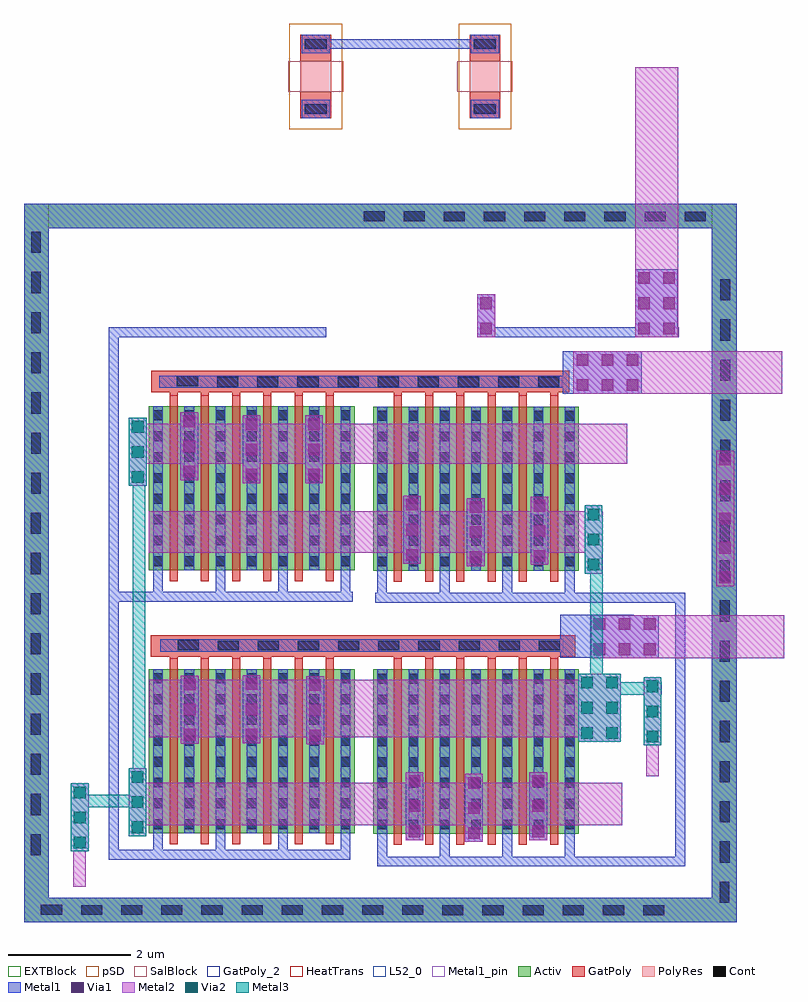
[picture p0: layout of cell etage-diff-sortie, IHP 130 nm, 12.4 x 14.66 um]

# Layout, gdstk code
import gdstk
lib = gdstk.Library(unit=1e-6, precision=1e-09)
def R(c, l, rs):  # rectangles x0, y0, x1, y1
    for r in rs: c.add(gdstk.rectangle(r[:2], r[2:], *l))
def A(c, l, x, y, w, h, nx, ny, dx, dy):  # array of equal rectangles
    R(c, l, [(x+i*dx, y+j*dy, x+i*dx+w, y+j*dy+h) for i in range(nx) for j in range(ny)])
Activ = (1, 0)
GatPoly = (5, 0)
GatPoly_2 = (5, 2)
Cont = (6, 0)
Metal1 = (8, 0)
Metal1_pin = (8, 2)
Metal2 = (10, 0)
pSD = (14, 0)
Via1 = (19, 0)
SalBlock = (28, 0)
Via2 = (29, 0)
Metal3 = (30, 0)
HeatTrans = (51, 0)
L52_0 = (52, 0)
EXTBlock = (111, 0)
PolyRes = (128, 0)

nmos = lib.new_cell('nmos')
A(nmos, Activ, 0, 0, 0.3, 0.3, 7, 1, 0.51, 0)
R(nmos, Activ, [(0,0,3.36,2.68)])
A(nmos, GatPoly, 0.34, -0.18, 0.13, 3.04, 6, 1, 0.51, 0)
R(nmos, GatPoly_2, [(0.34,-0.18,0.47,2.86)])
A(nmos, Cont, 0.07, 0.07, 0.16, 0.16, 7, 8, 0.51, 0.34)
A(nmos, Metal1, 0.07, 0, 0.16, 2.68, 7, 1, 0.51, 0)
R(nmos, Metal1_pin, [(0.07,0,0.23,2.68), (0.58,0,0.74,2.68)])
A(nmos, HeatTrans, 0.34, -0.18, 0.13, 3.04, 6, 1, 0.51, 0)
nmos.add(gdstk.Label('nmos', (0.405,1.34), layer=63, texttype=0))
nmos.add(gdstk.Label('nmos', (0.405,1.34), layer=51, texttype=0))
nmos.add(gdstk.Label('nmos', (0.915,1.34), layer=51, texttype=0))
nmos.add(gdstk.Label('nmos', (1.425,1.34), layer=51, texttype=0))
nmos.add(gdstk.Label('nmos', (1.935,1.34), layer=51, texttype=0))
nmos.add(gdstk.Label('nmos', (2.445,1.34), layer=51, texttype=0))
nmos.add(gdstk.Label('nmos', (2.955,1.34), layer=51, texttype=0))

via_stack_1 = lib.new_cell('via_stack$1')
R(via_stack_1, Metal1, [(-0.145,-0.555,0.145,0.555)])
R(via_stack_1, Metal2, [(-0.145,-0.555,0.145,0.555)])
A(via_stack_1, Via1, -0.095, -0.505, 0.19, 0.19, 1, 3, 0, 0.41)

via_stack_2 = lib.new_cell('via_stack$2')
R(via_stack_2, Metal2, [(-0.145,-0.555,0.145,0.555)])
A(via_stack_2, Via2, -0.095, -0.505, 0.19, 0.19, 1, 3, 0, 0.41)
R(via_stack_2, Metal3, [(-0.145,-0.555,0.145,0.555)])

via_stack_4 = lib.new_cell('via_stack$4')
R(via_stack_4, Metal1, [(-0.555,-0.35,0.555,0.35)])
R(via_stack_4, Metal2, [(-0.555,-0.35,0.555,0.35)])
A(via_stack_4, Via1, -0.505, -0.3, 0.19, 0.19, 3, 2, 0.41, 0.41)

rppd = lib.new_cell('rppd')
R(rppd, GatPoly, [(0,-0.43,0.5,-0.2), (0,-0.2,0.5,0), (0,0.5,0.5,0.7), (0,0.7,0.5,0.93)])
R(rppd, Cont, [(0.07,-0.36,0.43,-0.2), (0.07,0.7,0.43,0.86)])
R(rppd, Metal1, [(0.02,-0.43,0.48,-0.13), (0.02,0.63,0.48,0.93)])
R(rppd, Metal1_pin, [(0.02,-0.43,0.48,-0.13), (0.02,0.63,0.48,0.93)])
R(rppd, pSD, [(-0.18,-0.61,0.68,0), (-0.18,0,0.68,0.5), (-0.18,0.5,0.68,1.11)])
R(rppd, SalBlock, [(-0.2,0,0.7,0.5)])
R(rppd, L52_0, [(0,0,0.5,0.5)])
R(rppd, EXTBlock, [(-0.18,-0.61,0.68,0), (-0.2,0,0.7,0.5), (-0.18,0.5,0.68,1.11)])
R(rppd, PolyRes, [(0,0,0.5,0.5)])
rppd.add(gdstk.Label('rpnd r=396.917', (0.25,0.25), layer=63, texttype=0))
rppd.add(gdstk.Label('rppd', (0.25,0.25), layer=52, texttype=0))

rppd_1 = lib.new_cell('rppd$1')
R(rppd_1, GatPoly, [(0,-0.43,0.5,-0.2), (0,-0.2,0.5,0), (0,0.5,0.5,0.7), (0,0.7,0.5,0.93)])
R(rppd_1, Cont, [(0.07,-0.36,0.43,-0.2), (0.07,0.7,0.43,0.86)])
R(rppd_1, Metal1, [(0.02,-0.43,0.48,-0.13), (0.02,0.63,0.48,0.93)])
R(rppd_1, Metal1_pin, [(0.02,-0.43,0.48,-0.13), (0.02,0.63,0.48,0.93)])
R(rppd_1, pSD, [(-0.18,-0.61,0.68,0), (-0.18,0,0.68,0.5), (-0.18,0.5,0.68,1.11)])
R(rppd_1, SalBlock, [(-0.2,0,0.7,0.5)])
R(rppd_1, L52_0, [(0,0,0.5,0.5)])
R(rppd_1, EXTBlock, [(-0.18,-0.61,0.68,0), (-0.2,0,0.7,0.5), (-0.18,0.5,0.68,1.11)])
R(rppd_1, PolyRes, [(0,0,0.5,0.5)])
rppd_1.add(gdstk.Label('rpnd r=396.917', (0.25,0.25), layer=63, texttype=0))
rppd_1.add(gdstk.Label('rppd', (0.25,0.25), layer=52, texttype=0))

via_stack_13 = lib.new_cell('via_stack$13')
R(via_stack_13, Metal1, [(-0.35,-0.555,0.35,0.555)])
R(via_stack_13, Metal2, [(-0.35,-0.555,0.35,0.555)])
A(via_stack_13, Via1, -0.3, -0.505, 0.19, 0.19, 1, 3, 0, 0.41)
A(via_stack_13, Via1, 0.11, -0.505, 0.19, 0.19, 1, 3, 0, 0.41)

via_stack_15 = lib.new_cell('via_stack$15')
R(via_stack_15, Metal1, [(-0.145,-0.35,0.145,0.35)])
R(via_stack_15, Metal2, [(-0.145,-0.35,0.145,0.35)])
R(via_stack_15, Via1, [(-0.095,-0.3,0.095,-0.11), (-0.095,0.11,0.095,0.3)])

via_stack = lib.new_cell('via_stack')
R(via_stack, Metal1, [(-0.145,-1.105,0.145,1.105)])
R(via_stack, Metal2, [(-0.145,-1.105,0.145,1.105)])
A(via_stack, Via1, -0.095, -1.055, 0.19, 0.19, 1, 5, 0, 0.48)

via_stack_3 = lib.new_cell('via_stack$3')
R(via_stack_3, Metal2, [(-0.35,-0.555,0.35,0.555)])
A(via_stack_3, Via2, -0.3, -0.505, 0.19, 0.19, 1, 3, 0, 0.41)
A(via_stack_3, Via2, 0.11, -0.505, 0.19, 0.19, 1, 3, 0, 0.41)
R(via_stack_3, Metal3, [(-0.35,-0.555,0.35,0.555)])

etage_diff_sortie = lib.new_cell('etage-diff-sortie')
R(etage_diff_sortie, Activ, [(-5.8,-7.33,-5.755,-6.93)])
R(etage_diff_sortie, GatPoly, [(-0.83,-2.995,-0.51,-2.645), (-0.82,1.315,-0.61,1.665)])
R(etage_diff_sortie, Metal1, [(-5.8,-7.33,-5.755,-6.93)])
R(etage_diff_sortie, Metal2, [(-4.495,-5.75,3.56,-5.05), (-4.16,-4.31,3.51,-3.37), (-4.165,-1.3,3.24,-0.625), (-4.49,0.155,3.645,0.8)])
R(etage_diff_sortie, pSD, [(-5.8,-7.33,-5.755,-6.93)])
etage_diff_sortie.add(gdstk.FlexPath([(2.59,1.64),(3.495,1.64)], 0.7, ends="flush", simple_path=True, layer=8, datatype=0))  # Metal1
etage_diff_sortie.add(gdstk.FlexPath([(1.195,2.295),(4.48,2.295)], 0.16, ends="flush", simple_path=True, layer=8, datatype=0))  # Metal1
etage_diff_sortie.add(gdstk.FlexPath([(-1.265,2.295),(-4.815,2.295),(-4.815,2.295)], 0.16, ends="flush", simple_path=True, layer=8, datatype=0))  # Metal1
etage_diff_sortie.add(gdstk.FlexPath([(-1.26,7),(1.385,7)], 0.16, ends="flush", simple_path=True, layer=8, datatype=0))  # Metal1
etage_diff_sortie.add(gdstk.FlexPath([(2.55,-2.665),(3.75,-2.665)], 0.7, ends="flush", simple_path=True, layer=8, datatype=0))  # Metal1
etage_diff_sortie.add(gdstk.FlexPath([(3.055,-6.34),(-0.435,-6.34)], 0.16, ends="flush", simple_path=True, layer=8, datatype=0))  # Metal1
etage_diff_sortie.add(gdstk.FlexPath([(-0.355,-6.14),(-0.355,-6.26)], 0.16, ends="flush", simple_path=True, layer=8, datatype=0))  # Metal1
etage_diff_sortie.add(gdstk.FlexPath([(0.665,-6.14),(0.665,-6.26)], 0.16, ends="flush", simple_path=True, layer=8, datatype=0))  # Metal1
etage_diff_sortie.add(gdstk.FlexPath([(1.685,-6.14),(1.685,-6.26)], 0.16, ends="flush", simple_path=True, layer=8, datatype=0))  # Metal1
etage_diff_sortie.add(gdstk.FlexPath([(2.705,-6.14),(2.705,-6.26)], 0.16, ends="flush", simple_path=True, layer=8, datatype=0))  # Metal1
etage_diff_sortie.add(gdstk.FlexPath([(3.055,-6.34),(3.815,-6.34)], 0.16, ends="flush", simple_path=True, layer=8, datatype=0))  # Metal1
etage_diff_sortie.add(gdstk.FlexPath([(3.815,-6.34),(4.585,-6.34)], 0.16, ends="flush", simple_path=True, layer=8, datatype=0))  # Metal1
etage_diff_sortie.add(gdstk.FlexPath([(4.505,-6.255),(4.505,-6.26)], 0.16, ends="flush", simple_path=True, layer=8, datatype=0))  # Metal1
etage_diff_sortie.add(gdstk.FlexPath([(-4.23,-6.23),(-0.875,-6.23)], 0.16, ends="flush", simple_path=True, layer=8, datatype=0))  # Metal1
etage_diff_sortie.add(gdstk.FlexPath([(-4.23,-6.23),(-4.815,-6.23)], 0.16, ends="flush", simple_path=True, layer=8, datatype=0))  # Metal1
etage_diff_sortie.add(gdstk.FlexPath([(-4.735,-5.62),(-4.735,-6.15)], 0.16, ends="flush", simple_path=True, layer=8, datatype=0))  # Metal1
etage_diff_sortie.add(gdstk.FlexPath([(-5.8,4.195),(5.38,4.195)], 0.4, ends="flush", simple_path=True, layer=8, datatype=0))  # Metal1
etage_diff_sortie.add(gdstk.FlexPath([(5.425,-7.13),(-5.755,-7.13)], 0.4, ends="flush", simple_path=True, layer=8, datatype=0))  # Metal1
etage_diff_sortie.add(gdstk.FlexPath([(-6,-7.33),(-6,4.395),(-6,4.395)], 0.4, ends="flush", simple_path=True, layer=8, datatype=0))  # Metal1
etage_diff_sortie.add(gdstk.FlexPath([(5.225,4.395),(5.225,-7.33)], 0.4, ends="flush", simple_path=True, layer=8, datatype=0))  # Metal1
etage_diff_sortie.add(gdstk.FlexPath([(2.59,1.49),(-3.99,1.49)], 0.2, ends="flush", simple_path=True, layer=8, datatype=0))  # Metal1
etage_diff_sortie.add(gdstk.FlexPath([(2.6,-2.815),(-3.98,-2.815)], 0.2, ends="flush", simple_path=True, layer=8, datatype=0))  # Metal1
etage_diff_sortie.add(gdstk.FlexPath([(-4.735,-2.08),(-4.735,2.235)], 0.16, ends="flush", simple_path=True, layer=8, datatype=0))  # Metal1
etage_diff_sortie.add(gdstk.FlexPath([(-4.275,-2.02),(-4.815,-2.02),(-4.815,-2.02),(-4.815,-2.02)], 0.16, ends="flush", simple_path=True, layer=8, datatype=0))  # Metal1
etage_diff_sortie.add(gdstk.FlexPath([(4.505,-2.115),(4.505,-6.255)], 0.16, ends="flush", simple_path=True, layer=8, datatype=0))  # Metal1
etage_diff_sortie.add(gdstk.FlexPath([(3.805,-2.035),(4.585,-2.035)], 0.16, ends="flush", simple_path=True, layer=8, datatype=0))  # Metal1
etage_diff_sortie.add(gdstk.FlexPath([(3.035,-2.035),(3.805,-2.035),(3.805,-2.035),(3.805,-2.035)], 0.16, ends="flush", simple_path=True, layer=8, datatype=0))  # Metal1
etage_diff_sortie.add(gdstk.FlexPath([(-2.995,-1.415),(-2.995,-1.94)], 0.16, ends="flush", simple_path=True, layer=8, datatype=0))  # Metal1
etage_diff_sortie.add(gdstk.FlexPath([(-1.975,-1.42),(-1.975,-1.94)], 0.16, ends="flush", simple_path=True, layer=8, datatype=0))  # Metal1
etage_diff_sortie.add(gdstk.FlexPath([(-0.955,-1.415),(-0.955,-1.94)], 0.16, ends="flush", simple_path=True, layer=8, datatype=0))  # Metal1
etage_diff_sortie.add(gdstk.FlexPath([(-0.36,-1.415),(-0.36,-1.955)], 0.16, ends="flush", simple_path=True, layer=8, datatype=0))  # Metal1
etage_diff_sortie.add(gdstk.FlexPath([(0.665,-1.425),(0.665,-1.955)], 0.16, ends="flush", simple_path=True, layer=8, datatype=0))  # Metal1
etage_diff_sortie.add(gdstk.FlexPath([(1.685,-1.425),(1.685,-1.955)], 0.16, ends="flush", simple_path=True, layer=8, datatype=0))  # Metal1
etage_diff_sortie.add(gdstk.FlexPath([(-4.015,-5.74),(-4.015,-6.15)], 0.16, ends="flush", simple_path=True, layer=8, datatype=0))  # Metal1
etage_diff_sortie.add(gdstk.FlexPath([(-2.995,-5.71),(-2.995,-6.15)], 0.16, ends="flush", simple_path=True, layer=8, datatype=0))  # Metal1
etage_diff_sortie.add(gdstk.FlexPath([(-0.955,-5.725),(-0.955,-6.15)], 0.16, ends="flush", simple_path=True, layer=8, datatype=0))  # Metal1
etage_diff_sortie.add(gdstk.FlexPath([(-1.975,-5.815),(-1.975,-6.15)], 0.16, ends="flush", simple_path=True, layer=8, datatype=0))  # Metal1
etage_diff_sortie.add(gdstk.FlexPath([(-0.355,-5.73),(-0.355,-6.14)], 0.16, ends="flush", simple_path=True, layer=8, datatype=0))  # Metal1
etage_diff_sortie.add(gdstk.FlexPath([(0.665,-5.735),(0.665,-6.14)], 0.16, ends="flush", simple_path=True, layer=8, datatype=0))  # Metal1
etage_diff_sortie.add(gdstk.FlexPath([(1.685,-5.785),(1.685,-6.14)], 0.16, ends="flush", simple_path=True, layer=8, datatype=0))  # Metal1
etage_diff_sortie.add(gdstk.FlexPath([(2.705,-5.77),(2.705,-6.14)], 0.16, ends="flush", simple_path=True, layer=8, datatype=0))  # Metal1
etage_diff_sortie.add(gdstk.FlexPath([(2.705,-1.585),(2.705,-1.955)], 0.16, ends="flush", simple_path=True, layer=8, datatype=0))  # Metal1
etage_diff_sortie.add(gdstk.FlexPath([(-4.015,-1.41),(-4.015,-1.94),(-4.015,-1.94),(-4.015,-1.94)], 0.16, ends="flush", simple_path=True, layer=8, datatype=0))  # Metal1
etage_diff_sortie.add(gdstk.FlexPath([(-4.275,-2.02),(-0.84,-2.02)], 0.16, ends="flush", simple_path=True, layer=8, datatype=0))  # Metal1
etage_diff_sortie.add(gdstk.FlexPath([(-0.47,-2.035),(3.035,-2.035)], 0.16, ends="flush", simple_path=True, layer=8, datatype=0))  # Metal1
etage_diff_sortie.add(gdstk.FlexPath([(-0.47,-2.035),(3.035,-2.035)], 0.16, ends="flush", simple_path=True, layer=8, datatype=0))  # Metal1
etage_diff_sortie.add(gdstk.FlexPath([(-4.275,-2.02),(-0.84,-2.02)], 0.16, ends="flush", simple_path=True, layer=8, datatype=0))  # Metal1
etage_diff_sortie.add(gdstk.FlexPath([(-4.735,-2.08),(-4.735,-2.655)], 0.16, ends="flush", simple_path=True, layer=8, datatype=0))  # Metal1
etage_diff_sortie.add(gdstk.FlexPath([(-4.735,-2.65),(-4.735,-3.555)], 0.16, ends="flush", simple_path=True, layer=8, datatype=0))  # Metal1
etage_diff_sortie.add(gdstk.FlexPath([(-4.735,-3.555),(-4.735,-5.62)], 0.16, ends="flush", simple_path=True, layer=8, datatype=0))  # Metal1
etage_diff_sortie.add(gdstk.FlexPath([(3.065,1.64),(6.17,1.64)], 0.7, ends="flush", simple_path=True, layer=10, datatype=0))  # Metal2
etage_diff_sortie.add(gdstk.FlexPath([(4.125,2.22),(4.125,6.62)], 0.7, ends="flush", simple_path=True, layer=10, datatype=0))  # Metal2
etage_diff_sortie.add(gdstk.FlexPath([(3.415,-2.67),(6.2,-2.67)], 0.7, ends="flush", simple_path=True, layer=10, datatype=0))  # Metal2
etage_diff_sortie.add(gdstk.FlexPath([(4.055,-4.95),(4.055,-3.37)], 0.2, ends="flush", simple_path=True, layer=10, datatype=0))  # Metal2
etage_diff_sortie.add(gdstk.FlexPath([(-5.295,-6.75),(-5.295,-5.2)], 0.2, ends="flush", simple_path=True, layer=10, datatype=0))  # Metal2
etage_diff_sortie.add(gdstk.FlexPath([(2.59,1.49),(-3.99,1.49)], 0.2, ends="flush", simple_path=True, layer=8, datatype=2))  # Metal1_pin
etage_diff_sortie.add(gdstk.FlexPath([(2.6,-2.815),(-3.98,-2.815)], 0.2, ends="flush", simple_path=True, layer=8, datatype=2))  # Metal1_pin
etage_diff_sortie.add(gdstk.FlexPath([(-5.8,4.195),(5.38,4.195)], 0.4, ends="flush", simple_path=True, layer=1, datatype=0))  # Activ
etage_diff_sortie.add(gdstk.FlexPath([(-6,4.395),(-6,-7.33),(-6,-7.33),(-6,-7.33)], 0.4, ends="flush", simple_path=True, layer=1, datatype=0))  # Activ
etage_diff_sortie.add(gdstk.FlexPath([(-5.755,-7.13),(5.425,-7.13)], 0.4, ends="flush", simple_path=True, layer=1, datatype=0))  # Activ
etage_diff_sortie.add(gdstk.FlexPath([(5.225,4.395),(5.225,-7.33),(5.225,-7.33),(5.225,-7.33)], 0.4, ends="flush", simple_path=True, layer=1, datatype=0))  # Activ
etage_diff_sortie.add(gdstk.FlexPath([(-0.51,-2.82),(2.795,-2.82)], 0.35, ends="flush", simple_path=True, layer=5, datatype=0))  # GatPoly
etage_diff_sortie.add(gdstk.FlexPath([(-4.135,-2.82),(-0.83,-2.82)], 0.35, ends="flush", simple_path=True, layer=5, datatype=0))  # GatPoly
etage_diff_sortie.add(gdstk.FlexPath([(-0.61,1.49),(2.695,1.49)], 0.35, ends="flush", simple_path=True, layer=5, datatype=0))  # GatPoly
etage_diff_sortie.add(gdstk.FlexPath([(-4.125,1.49),(-0.82,1.49)], 0.35, ends="flush", simple_path=True, layer=5, datatype=0))  # GatPoly
etage_diff_sortie.add(gdstk.FlexPath([(-1.21,1.27),(-1.21,1.325)], 0.13, ends="flush", simple_path=True, layer=5, datatype=0))  # GatPoly
etage_diff_sortie.add(gdstk.FlexPath([(-1.72,1.27),(-1.72,1.325)], 0.13, ends="flush", simple_path=True, layer=5, datatype=0))  # GatPoly
etage_diff_sortie.add(gdstk.FlexPath([(-2.23,1.27),(-2.23,1.325)], 0.13, ends="flush", simple_path=True, layer=5, datatype=0))  # GatPoly
etage_diff_sortie.add(gdstk.FlexPath([(-2.74,1.27),(-2.74,1.325),(-2.74,1.325)], 0.13, ends="flush", simple_path=True, layer=5, datatype=0))  # GatPoly
etage_diff_sortie.add(gdstk.FlexPath([(-3.25,1.27),(-3.25,1.33)], 0.13, ends="flush", simple_path=True, layer=5, datatype=0))  # GatPoly
etage_diff_sortie.add(gdstk.FlexPath([(-0.1,1.22),(-0.1,1.38)], 0.13, ends="flush", simple_path=True, layer=5, datatype=0))  # GatPoly
etage_diff_sortie.add(gdstk.FlexPath([(0.41,1.235),(0.41,1.37)], 0.13, ends="flush", simple_path=True, layer=5, datatype=0))  # GatPoly
etage_diff_sortie.add(gdstk.FlexPath([(0.92,1.23),(0.92,1.375)], 0.13, ends="flush", simple_path=True, layer=5, datatype=0))  # GatPoly
etage_diff_sortie.add(gdstk.FlexPath([(1.43,1.235),(1.43,1.375)], 0.13, ends="flush", simple_path=True, layer=5, datatype=0))  # GatPoly
etage_diff_sortie.add(gdstk.FlexPath([(1.94,1.235),(1.94,1.37)], 0.13, ends="flush", simple_path=True, layer=5, datatype=0))  # GatPoly
etage_diff_sortie.add(gdstk.FlexPath([(2.45,1.23),(2.45,1.37)], 0.13, ends="flush", simple_path=True, layer=5, datatype=0))  # GatPoly
etage_diff_sortie.add(gdstk.FlexPath([(-3.76,1.27),(-3.76,1.33)], 0.13, ends="flush", simple_path=True, layer=5, datatype=0))  # GatPoly
etage_diff_sortie.add(gdstk.FlexPath([(-3.76,-3.02),(-3.76,-2.985)], 0.13, ends="flush", simple_path=True, layer=5, datatype=0))  # GatPoly
etage_diff_sortie.add(gdstk.FlexPath([(-3.25,-3.055),(-3.25,-2.95)], 0.13, ends="flush", simple_path=True, layer=5, datatype=0))  # GatPoly
etage_diff_sortie.add(gdstk.FlexPath([(-2.74,-3.07),(-2.74,-2.94)], 0.13, ends="flush", simple_path=True, layer=5, datatype=0))  # GatPoly
etage_diff_sortie.add(gdstk.FlexPath([(-2.23,-3.02),(-2.23,-2.975)], 0.13, ends="flush", simple_path=True, layer=5, datatype=0))  # GatPoly
etage_diff_sortie.add(gdstk.FlexPath([(-1.72,-3.06),(-1.72,-2.94)], 0.13, ends="flush", simple_path=True, layer=5, datatype=0))  # GatPoly
etage_diff_sortie.add(gdstk.FlexPath([(-1.21,-3.07),(-1.21,-2.945)], 0.13, ends="flush", simple_path=True, layer=5, datatype=0))  # GatPoly
etage_diff_sortie.add(gdstk.FlexPath([(-0.1,-3.025),(-0.1,-2.975)], 0.13, ends="flush", simple_path=True, layer=5, datatype=0))  # GatPoly
etage_diff_sortie.add(gdstk.FlexPath([(0.92,-3.025),(0.92,-2.97)], 0.13, ends="flush", simple_path=True, layer=5, datatype=0))  # GatPoly
etage_diff_sortie.add(gdstk.FlexPath([(0.41,-3.025),(0.41,-2.97)], 0.13, ends="flush", simple_path=True, layer=5, datatype=0))  # GatPoly
etage_diff_sortie.add(gdstk.FlexPath([(1.43,-3.025),(1.43,-2.975)], 0.13, ends="flush", simple_path=True, layer=5, datatype=0))  # GatPoly
etage_diff_sortie.add(gdstk.FlexPath([(1.94,-3.025),(1.94,-2.97)], 0.13, ends="flush", simple_path=True, layer=5, datatype=0))  # GatPoly
etage_diff_sortie.add(gdstk.FlexPath([(2.45,-3.06),(2.45,-2.94)], 0.13, ends="flush", simple_path=True, layer=5, datatype=0))  # GatPoly
etage_diff_sortie.add(gdstk.FlexPath([(-1.21,1.27),(-1.21,1.325)], 0.13, ends="flush", simple_path=True, layer=5, datatype=0))  # GatPoly
etage_diff_sortie.add(gdstk.FlexPath([(-1.72,1.27),(-1.72,1.325)], 0.13, ends="flush", simple_path=True, layer=5, datatype=0))  # GatPoly
etage_diff_sortie.add(gdstk.FlexPath([(-2.23,1.27),(-2.23,1.325)], 0.13, ends="flush", simple_path=True, layer=5, datatype=0))  # GatPoly
etage_diff_sortie.add(gdstk.FlexPath([(-2.74,1.27),(-2.74,1.325),(-2.74,1.325)], 0.13, ends="flush", simple_path=True, layer=5, datatype=0))  # GatPoly
etage_diff_sortie.add(gdstk.FlexPath([(-3.25,1.27),(-3.25,1.33)], 0.13, ends="flush", simple_path=True, layer=5, datatype=0))  # GatPoly
etage_diff_sortie.add(gdstk.FlexPath([(-0.1,1.22),(-0.1,1.38)], 0.13, ends="flush", simple_path=True, layer=5, datatype=0))  # GatPoly
etage_diff_sortie.add(gdstk.FlexPath([(0.41,1.235),(0.41,1.37)], 0.13, ends="flush", simple_path=True, layer=5, datatype=0))  # GatPoly
etage_diff_sortie.add(gdstk.FlexPath([(0.92,1.23),(0.92,1.375)], 0.13, ends="flush", simple_path=True, layer=5, datatype=0))  # GatPoly
etage_diff_sortie.add(gdstk.FlexPath([(1.43,1.235),(1.43,1.375)], 0.13, ends="flush", simple_path=True, layer=5, datatype=0))  # GatPoly
etage_diff_sortie.add(gdstk.FlexPath([(1.94,1.235),(1.94,1.37)], 0.13, ends="flush", simple_path=True, layer=5, datatype=0))  # GatPoly
etage_diff_sortie.add(gdstk.FlexPath([(2.45,1.23),(2.45,1.37)], 0.13, ends="flush", simple_path=True, layer=5, datatype=0))  # GatPoly
etage_diff_sortie.add(gdstk.FlexPath([(-3.76,1.27),(-3.76,1.33)], 0.13, ends="flush", simple_path=True, layer=5, datatype=0))  # GatPoly
etage_diff_sortie.add(gdstk.FlexPath([(-3.76,-3.02),(-3.76,-2.985)], 0.13, ends="flush", simple_path=True, layer=5, datatype=0))  # GatPoly
etage_diff_sortie.add(gdstk.FlexPath([(-3.25,-3.055),(-3.25,-2.95)], 0.13, ends="flush", simple_path=True, layer=5, datatype=0))  # GatPoly
etage_diff_sortie.add(gdstk.FlexPath([(-2.74,-3.07),(-2.74,-2.94)], 0.13, ends="flush", simple_path=True, layer=5, datatype=0))  # GatPoly
etage_diff_sortie.add(gdstk.FlexPath([(-2.23,-3.02),(-2.23,-2.975)], 0.13, ends="flush", simple_path=True, layer=5, datatype=0))  # GatPoly
etage_diff_sortie.add(gdstk.FlexPath([(-1.72,-3.06),(-1.72,-2.94)], 0.13, ends="flush", simple_path=True, layer=5, datatype=0))  # GatPoly
etage_diff_sortie.add(gdstk.FlexPath([(-1.21,-3.07),(-1.21,-2.945)], 0.13, ends="flush", simple_path=True, layer=5, datatype=0))  # GatPoly
etage_diff_sortie.add(gdstk.FlexPath([(-0.1,-3.025),(-0.1,-2.975)], 0.13, ends="flush", simple_path=True, layer=5, datatype=0))  # GatPoly
etage_diff_sortie.add(gdstk.FlexPath([(0.92,-3.025),(0.92,-2.97)], 0.13, ends="flush", simple_path=True, layer=5, datatype=0))  # GatPoly
etage_diff_sortie.add(gdstk.FlexPath([(0.41,-3.025),(0.41,-2.97)], 0.13, ends="flush", simple_path=True, layer=5, datatype=0))  # GatPoly
etage_diff_sortie.add(gdstk.FlexPath([(1.43,-3.025),(1.43,-2.975)], 0.13, ends="flush", simple_path=True, layer=5, datatype=0))  # GatPoly
etage_diff_sortie.add(gdstk.FlexPath([(1.94,-3.025),(1.94,-2.97)], 0.13, ends="flush", simple_path=True, layer=5, datatype=0))  # GatPoly
etage_diff_sortie.add(gdstk.FlexPath([(2.45,-3.06),(2.45,-2.94)], 0.13, ends="flush", simple_path=True, layer=5, datatype=0))  # GatPoly
etage_diff_sortie.add(gdstk.FlexPath([(0.97,-7.135),(0.625,-7.135)], 0.16, ends="flush", simple_path=True, layer=6, datatype=0))  # Cont
etage_diff_sortie.add(gdstk.FlexPath([(1.625,-7.135),(1.28,-7.135)], 0.16, ends="flush", simple_path=True, layer=6, datatype=0))  # Cont
etage_diff_sortie.add(gdstk.FlexPath([(2.28,-7.135),(1.935,-7.135)], 0.16, ends="flush", simple_path=True, layer=6, datatype=0))  # Cont
etage_diff_sortie.add(gdstk.FlexPath([(2.935,-7.135),(2.59,-7.135)], 0.16, ends="flush", simple_path=True, layer=6, datatype=0))  # Cont
etage_diff_sortie.add(gdstk.FlexPath([(3.59,-7.135),(3.245,-7.135)], 0.16, ends="flush", simple_path=True, layer=6, datatype=0))  # Cont
etage_diff_sortie.add(gdstk.FlexPath([(4.245,-7.135),(3.9,-7.135)], 0.16, ends="flush", simple_path=True, layer=6, datatype=0))  # Cont
etage_diff_sortie.add(gdstk.FlexPath([(0.315,-7.13),(-0.03,-7.13)], 0.16, ends="flush", simple_path=True, layer=6, datatype=0))  # Cont
etage_diff_sortie.add(gdstk.FlexPath([(-0.34,-7.13),(-0.685,-7.13)], 0.16, ends="flush", simple_path=True, layer=6, datatype=0))  # Cont
etage_diff_sortie.add(gdstk.FlexPath([(-0.315,4.19),(-0.66,4.19)], 0.16, ends="flush", simple_path=True, layer=6, datatype=0))  # Cont
etage_diff_sortie.add(gdstk.FlexPath([(5.23,-6.665),(5.23,-7.01)], 0.16, ends="flush", simple_path=True, layer=6, datatype=0))  # Cont
etage_diff_sortie.add(gdstk.FlexPath([(-0.085,1.49),(-0.43,1.49)], 0.16, ends="flush", simple_path=True, layer=6, datatype=0))  # Cont
etage_diff_sortie.add(gdstk.FlexPath([(-0.075,-2.815),(-0.42,-2.815)], 0.16, ends="flush", simple_path=True, layer=6, datatype=0))  # Cont
etage_diff_sortie.add(gdstk.FlexPath([(2.96,4.185),(2.615,4.185)], 0.16, ends="flush", simple_path=True, layer=6, datatype=0))  # Cont
etage_diff_sortie.add(gdstk.FlexPath([(3.615,4.185),(3.27,4.185)], 0.16, ends="flush", simple_path=True, layer=6, datatype=0))  # Cont
etage_diff_sortie.add(gdstk.FlexPath([(0.34,4.19),(-0.005,4.19)], 0.16, ends="flush", simple_path=True, layer=6, datatype=0))  # Cont
etage_diff_sortie.add(gdstk.FlexPath([(5.235,-1.425),(5.235,-1.77)], 0.16, ends="flush", simple_path=True, layer=6, datatype=0))  # Cont
etage_diff_sortie.add(gdstk.FlexPath([(5.235,-3.39),(5.235,-3.735)], 0.16, ends="flush", simple_path=True, layer=6, datatype=0))  # Cont
etage_diff_sortie.add(gdstk.FlexPath([(5.235,-4.045),(5.235,-4.39)], 0.16, ends="flush", simple_path=True, layer=6, datatype=0))  # Cont
etage_diff_sortie.add(gdstk.FlexPath([(5.235,-4.7),(5.235,-5.045)], 0.16, ends="flush", simple_path=True, layer=6, datatype=0))  # Cont
etage_diff_sortie.add(gdstk.FlexPath([(5.235,-5.355),(5.235,-5.7)], 0.16, ends="flush", simple_path=True, layer=6, datatype=0))  # Cont
etage_diff_sortie.add(gdstk.FlexPath([(5.235,-6.01),(5.235,-6.355)], 0.16, ends="flush", simple_path=True, layer=6, datatype=0))  # Cont
etage_diff_sortie.add(gdstk.FlexPath([(0.995,4.185),(0.65,4.185)], 0.16, ends="flush", simple_path=True, layer=6, datatype=0))  # Cont
etage_diff_sortie.add(gdstk.FlexPath([(5.235,-2.735),(5.235,-3.08)], 0.16, ends="flush", simple_path=True, layer=6, datatype=0))  # Cont
etage_diff_sortie.add(gdstk.FlexPath([(5.235,-2.08),(5.235,-2.425)], 0.16, ends="flush", simple_path=True, layer=6, datatype=0))  # Cont
etage_diff_sortie.add(gdstk.FlexPath([(5.235,-0.77),(5.235,-1.115)], 0.16, ends="flush", simple_path=True, layer=6, datatype=0))  # Cont
etage_diff_sortie.add(gdstk.FlexPath([(5.24,-0.115),(5.24,-0.46)], 0.16, ends="flush", simple_path=True, layer=6, datatype=0))  # Cont
etage_diff_sortie.add(gdstk.FlexPath([(5.24,3.16),(5.24,2.815)], 0.16, ends="flush", simple_path=True, layer=6, datatype=0))  # Cont
etage_diff_sortie.add(gdstk.FlexPath([(5.24,0.54),(5.24,0.195)], 0.16, ends="flush", simple_path=True, layer=6, datatype=0))  # Cont
etage_diff_sortie.add(gdstk.FlexPath([(5.24,1.195),(5.24,0.85)], 0.16, ends="flush", simple_path=True, layer=6, datatype=0))  # Cont
etage_diff_sortie.add(gdstk.FlexPath([(5.24,1.85),(5.24,1.505)], 0.16, ends="flush", simple_path=True, layer=6, datatype=0))  # Cont
etage_diff_sortie.add(gdstk.FlexPath([(5.24,2.505),(5.24,2.16)], 0.16, ends="flush", simple_path=True, layer=6, datatype=0))  # Cont
etage_diff_sortie.add(gdstk.FlexPath([(4.925,4.185),(4.58,4.185)], 0.16, ends="flush", simple_path=True, layer=6, datatype=0))  # Cont
etage_diff_sortie.add(gdstk.FlexPath([(1.88,1.49),(1.535,1.49)], 0.16, ends="flush", simple_path=True, layer=6, datatype=0))  # Cont
etage_diff_sortie.add(gdstk.FlexPath([(4.27,4.185),(3.925,4.185)], 0.16, ends="flush", simple_path=True, layer=6, datatype=0))  # Cont
etage_diff_sortie.add(gdstk.FlexPath([(0.57,1.49),(0.225,1.49)], 0.16, ends="flush", simple_path=True, layer=6, datatype=0))  # Cont
etage_diff_sortie.add(gdstk.FlexPath([(1.225,1.49),(0.88,1.49)], 0.16, ends="flush", simple_path=True, layer=6, datatype=0))  # Cont
etage_diff_sortie.add(gdstk.FlexPath([(2.535,1.49),(2.19,1.49)], 0.16, ends="flush", simple_path=True, layer=6, datatype=0))  # Cont
etage_diff_sortie.add(gdstk.FlexPath([(1.89,-2.815),(1.545,-2.815)], 0.16, ends="flush", simple_path=True, layer=6, datatype=0))  # Cont
etage_diff_sortie.add(gdstk.FlexPath([(1.65,4.185),(1.305,4.185)], 0.16, ends="flush", simple_path=True, layer=6, datatype=0))  # Cont
etage_diff_sortie.add(gdstk.FlexPath([(0.58,-2.815),(0.235,-2.815)], 0.16, ends="flush", simple_path=True, layer=6, datatype=0))  # Cont
etage_diff_sortie.add(gdstk.FlexPath([(1.235,-2.815),(0.89,-2.815)], 0.16, ends="flush", simple_path=True, layer=6, datatype=0))  # Cont
etage_diff_sortie.add(gdstk.FlexPath([(2.545,-2.815),(2.2,-2.815)], 0.16, ends="flush", simple_path=True, layer=6, datatype=0))  # Cont
etage_diff_sortie.add(gdstk.FlexPath([(2.305,4.185),(1.96,4.185)], 0.16, ends="flush", simple_path=True, layer=6, datatype=0))  # Cont
etage_diff_sortie.add(gdstk.FlexPath([(-6.01,-1.305),(-6.01,-1.65)], 0.16, ends="flush", simple_path=True, layer=6, datatype=0))  # Cont
etage_diff_sortie.add(gdstk.FlexPath([(-6.01,-3.27),(-6.01,-3.615)], 0.16, ends="flush", simple_path=True, layer=6, datatype=0))  # Cont
etage_diff_sortie.add(gdstk.FlexPath([(-6.01,-3.925),(-6.01,-4.27)], 0.16, ends="flush", simple_path=True, layer=6, datatype=0))  # Cont
etage_diff_sortie.add(gdstk.FlexPath([(-6.01,-4.58),(-6.01,-4.925)], 0.16, ends="flush", simple_path=True, layer=6, datatype=0))  # Cont
etage_diff_sortie.add(gdstk.FlexPath([(-6.01,-5.235),(-6.01,-5.58)], 0.16, ends="flush", simple_path=True, layer=6, datatype=0))  # Cont
etage_diff_sortie.add(gdstk.FlexPath([(-6.01,-5.89),(-6.01,-6.235)], 0.16, ends="flush", simple_path=True, layer=6, datatype=0))  # Cont
etage_diff_sortie.add(gdstk.FlexPath([(-6.01,-2.615),(-6.01,-2.96)], 0.16, ends="flush", simple_path=True, layer=6, datatype=0))  # Cont
etage_diff_sortie.add(gdstk.FlexPath([(-6.01,-1.96),(-6.01,-2.305)], 0.16, ends="flush", simple_path=True, layer=6, datatype=0))  # Cont
etage_diff_sortie.add(gdstk.FlexPath([(-6.01,-0.65),(-6.01,-0.995)], 0.16, ends="flush", simple_path=True, layer=6, datatype=0))  # Cont
etage_diff_sortie.add(gdstk.FlexPath([(-6.005,0.005),(-6.005,-0.34)], 0.16, ends="flush", simple_path=True, layer=6, datatype=0))  # Cont
etage_diff_sortie.add(gdstk.FlexPath([(-6.005,3.935),(-6.005,3.59)], 0.16, ends="flush", simple_path=True, layer=6, datatype=0))  # Cont
etage_diff_sortie.add(gdstk.FlexPath([(-6.005,3.28),(-6.005,2.935)], 0.16, ends="flush", simple_path=True, layer=6, datatype=0))  # Cont
etage_diff_sortie.add(gdstk.FlexPath([(-0.74,1.49),(-1.085,1.49)], 0.16, ends="flush", simple_path=True, layer=6, datatype=0))  # Cont
etage_diff_sortie.add(gdstk.FlexPath([(-1.395,1.49),(-1.74,1.49)], 0.16, ends="flush", simple_path=True, layer=6, datatype=0))  # Cont
etage_diff_sortie.add(gdstk.FlexPath([(-2.05,1.49),(-2.395,1.49)], 0.16, ends="flush", simple_path=True, layer=6, datatype=0))  # Cont
etage_diff_sortie.add(gdstk.FlexPath([(-2.705,1.49),(-3.05,1.49)], 0.16, ends="flush", simple_path=True, layer=6, datatype=0))  # Cont
etage_diff_sortie.add(gdstk.FlexPath([(-3.36,1.495),(-3.705,1.495)], 0.16, ends="flush", simple_path=True, layer=6, datatype=0))  # Cont
etage_diff_sortie.add(gdstk.FlexPath([(-6.005,0.66),(-6.005,0.315)], 0.16, ends="flush", simple_path=True, layer=6, datatype=0))  # Cont
etage_diff_sortie.add(gdstk.FlexPath([(-6.005,1.315),(-6.005,0.97)], 0.16, ends="flush", simple_path=True, layer=6, datatype=0))  # Cont
etage_diff_sortie.add(gdstk.FlexPath([(-6.005,1.97),(-6.005,1.625)], 0.16, ends="flush", simple_path=True, layer=6, datatype=0))  # Cont
etage_diff_sortie.add(gdstk.FlexPath([(-6.005,2.625),(-6.005,2.28)], 0.16, ends="flush", simple_path=True, layer=6, datatype=0))  # Cont
etage_diff_sortie.add(gdstk.FlexPath([(-0.73,-2.815),(-1.075,-2.815)], 0.16, ends="flush", simple_path=True, layer=6, datatype=0))  # Cont
etage_diff_sortie.add(gdstk.FlexPath([(-1.385,-2.815),(-1.73,-2.815)], 0.16, ends="flush", simple_path=True, layer=6, datatype=0))  # Cont
etage_diff_sortie.add(gdstk.FlexPath([(-2.04,-2.815),(-2.385,-2.815)], 0.16, ends="flush", simple_path=True, layer=6, datatype=0))  # Cont
etage_diff_sortie.add(gdstk.FlexPath([(-2.695,-2.815),(-3.04,-2.815)], 0.16, ends="flush", simple_path=True, layer=6, datatype=0))  # Cont
etage_diff_sortie.add(gdstk.FlexPath([(-3.35,-2.81),(-3.695,-2.81)], 0.16, ends="flush", simple_path=True, layer=6, datatype=0))  # Cont
etage_diff_sortie.add(gdstk.FlexPath([(-2.305,-7.13),(-2.65,-7.13)], 0.16, ends="flush", simple_path=True, layer=6, datatype=0))  # Cont
etage_diff_sortie.add(gdstk.FlexPath([(-2.96,-7.13),(-3.305,-7.13)], 0.16, ends="flush", simple_path=True, layer=6, datatype=0))  # Cont
etage_diff_sortie.add(gdstk.FlexPath([(-3.615,-7.13),(-3.96,-7.13)], 0.16, ends="flush", simple_path=True, layer=6, datatype=0))  # Cont
etage_diff_sortie.add(gdstk.FlexPath([(-4.27,-7.13),(-4.615,-7.13)], 0.16, ends="flush", simple_path=True, layer=6, datatype=0))  # Cont
etage_diff_sortie.add(gdstk.FlexPath([(-4.925,-7.13),(-5.27,-7.13)], 0.16, ends="flush", simple_path=True, layer=6, datatype=0))  # Cont
etage_diff_sortie.add(gdstk.FlexPath([(-5.58,-7.125),(-5.925,-7.125)], 0.16, ends="flush", simple_path=True, layer=6, datatype=0))  # Cont
etage_diff_sortie.add(gdstk.FlexPath([(-1.65,-7.13),(-1.995,-7.13)], 0.16, ends="flush", simple_path=True, layer=6, datatype=0))  # Cont
etage_diff_sortie.add(gdstk.FlexPath([(-0.995,-7.13),(-1.34,-7.13)], 0.16, ends="flush", simple_path=True, layer=6, datatype=0))  # Cont
etage_diff_sortie.add(gdstk.FlexPath([(-6,4.395),(-6,-7.33)], 0.4, ends="flush", simple_path=True, layer=14, datatype=0))  # pSD
etage_diff_sortie.add(gdstk.FlexPath([(5.425,-7.13),(-5.755,-7.13)], 0.4, ends="flush", simple_path=True, layer=14, datatype=0))  # pSD
etage_diff_sortie.add(gdstk.FlexPath([(5.225,4.395),(5.225,-7.33)], 0.4, ends="flush", simple_path=True, layer=14, datatype=0))  # pSD
etage_diff_sortie.add(gdstk.FlexPath([(3,-3.515),(4.205,-3.515)], 0.2, ends="flush", simple_path=True, layer=30, datatype=0))  # Metal3
etage_diff_sortie.add(gdstk.FlexPath([(-4.325,-4.555),(-4.325,0.45)], 0.2, ends="flush", simple_path=True, layer=30, datatype=0))  # Metal3
etage_diff_sortie.add(gdstk.FlexPath([(-4.295,-5.35),(-5.385,-5.35)], 0.2, ends="flush", simple_path=True, layer=30, datatype=0))  # Metal3
etage_diff_sortie.add(gdstk.FlexPath([(3.14,-0.695),(3.14,-3.42)], 0.2, ends="flush", simple_path=True, layer=30, datatype=0))  # Metal3
etage_diff_sortie.add(gdstk.FlexPath([(-4.325,-4.555),(-4.325,-5.23)], 0.2, ends="flush", simple_path=True, layer=30, datatype=0))  # Metal3
etage_diff_sortie.add(gdstk.Reference(nmos, (-4.165,-5.88)))
etage_diff_sortie.add(gdstk.Reference(nmos, (-0.505,-5.885)))
etage_diff_sortie.add(gdstk.Reference(nmos, (-4.165,-1.59)))
etage_diff_sortie.add(gdstk.Reference(nmos, (-4.165,-1.59)))
etage_diff_sortie.add(gdstk.Reference(nmos, (-0.505,-1.595)))
r = gdstk.Reference(via_stack_1, (2.21,-0.945)); r.repetition = gdstk.Repetition(1, 1, v1=(0,0), v2=(0,0)); etage_diff_sortie.add(r)
r = gdstk.Reference(via_stack_1, (1.17,-0.965)); r.repetition = gdstk.Repetition(1, 1, v1=(0,0), v2=(0,0)); etage_diff_sortie.add(r)
r = gdstk.Reference(via_stack_1, (0.13,-0.925)); r.repetition = gdstk.Repetition(1, 1, v1=(0,0), v2=(0,0)); etage_diff_sortie.add(r)
r = gdstk.Reference(via_stack_1, (-1.47,0.385)); r.repetition = gdstk.Repetition(1, 1, v1=(0,0), v2=(0,0)); etage_diff_sortie.add(r)
r = gdstk.Reference(via_stack_1, (-2.49,0.385)); r.repetition = gdstk.Repetition(1, 1, v1=(0,0), v2=(0,0)); etage_diff_sortie.add(r)
r = gdstk.Reference(via_stack_1, (-3.505,0.435)); r.repetition = gdstk.Repetition(1, 1, v1=(0,0), v2=(0,0)); etage_diff_sortie.add(r)
r = gdstk.Reference(via_stack_2, (-4.345,0.345)); r.repetition = gdstk.Repetition(1, 1, v1=(0,0), v2=(0,0)); etage_diff_sortie.add(r)
r = gdstk.Reference(via_stack_2, (-4.35,-5.37)); r.repetition = gdstk.Repetition(1, 1, v1=(0,0), v2=(0,0)); etage_diff_sortie.add(r)
r = gdstk.Reference(via_stack_2, (3.09,-1.085)); r.repetition = gdstk.Repetition(1, 1, v1=(0,0), v2=(0,0)); etage_diff_sortie.add(r)
r = gdstk.Reference(via_stack_2, (-5.29,-5.62)); r.repetition = gdstk.Repetition(1, 1, v1=(0,0), v2=(0,0)); etage_diff_sortie.add(r)
r = gdstk.Reference(via_stack_4, (3.6,-2.67)); r.repetition = gdstk.Repetition(1, 1, v1=(0,0), v2=(0,0)); etage_diff_sortie.add(r)
r = gdstk.Reference(rppd, (-1.69,6.22)); r.repetition = gdstk.Repetition(1, 1, v1=(0,0), v2=(0,0)); etage_diff_sortie.add(r)
r = gdstk.Reference(rppd_1, (1.07,6.22)); r.repetition = gdstk.Repetition(1, 1, v1=(0,0), v2=(0,0)); etage_diff_sortie.add(r)
r = gdstk.Reference(via_stack_1, (-1.45,-3.87)); r.repetition = gdstk.Repetition(1, 1, v1=(0,0), v2=(0,0)); etage_diff_sortie.add(r)
r = gdstk.Reference(via_stack_1, (-2.49,-3.855)); r.repetition = gdstk.Repetition(1, 1, v1=(0,0), v2=(0,0)); etage_diff_sortie.add(r)
r = gdstk.Reference(via_stack_1, (-3.495,-3.86)); r.repetition = gdstk.Repetition(1, 1, v1=(0,0), v2=(0,0)); etage_diff_sortie.add(r)
r = gdstk.Reference(via_stack_1, (1.14,-5.465)); r.repetition = gdstk.Repetition(1, 1, v1=(0,0), v2=(0,0)); etage_diff_sortie.add(r)
r = gdstk.Reference(via_stack_1, (2.19,-5.435)); r.repetition = gdstk.Repetition(1, 1, v1=(0,0), v2=(0,0)); etage_diff_sortie.add(r)
r = gdstk.Reference(via_stack_2, (4.055,-3.89)); r.repetition = gdstk.Repetition(1, 1, v1=(0,0), v2=(0,0)); etage_diff_sortie.add(r)
r = gdstk.Reference(via_stack_13, (4.12,2.77)); r.repetition = gdstk.Repetition(1, 1, v1=(0,0), v2=(0,0)); etage_diff_sortie.add(r)
r = gdstk.Reference(via_stack_1, (0.17,-5.435)); r.repetition = gdstk.Repetition(1, 1, v1=(0,0), v2=(0,0)); etage_diff_sortie.add(r)
r = gdstk.Reference(via_stack_15, (1.34,2.565)); r.repetition = gdstk.Repetition(1, 1, v1=(0,0), v2=(0,0)); etage_diff_sortie.add(r)
r = gdstk.Reference(via_stack, (5.24,-0.74)); r.repetition = gdstk.Repetition(1, 1, v1=(0,0), v2=(0,0)); etage_diff_sortie.add(r)
r = gdstk.Reference(via_stack_3, (3.19,-3.83)); r.repetition = gdstk.Repetition(1, 1, v1=(0,0), v2=(0,0)); etage_diff_sortie.add(r)
r = gdstk.Reference(via_stack_4, (3.32,1.64)); r.repetition = gdstk.Repetition(1, 1, v1=(0,0), v2=(0,0)); etage_diff_sortie.add(r)

lib.write_gds('etage-diff-sortie.gds')
